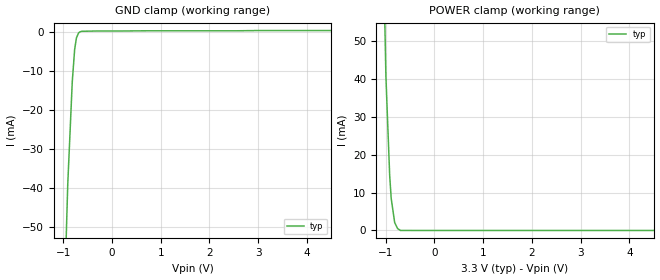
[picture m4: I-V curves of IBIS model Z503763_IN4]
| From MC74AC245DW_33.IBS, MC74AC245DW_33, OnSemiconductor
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| (C) COPYRIGHT 1993-2000
| MENTOR GRAPHICS CORPORATION
| ICX STANDARD LIBRARY, ICX PROJECT MODELING,
| ICX CUSTOM MODELING, ICX VENDOR MODEL
| ALL RIGHTS RESERVED.
| THE FOLLOWING ARE TRADEMARKS OR SERVICE MARKS OF
| MENTOR GRAPHICS CORPORATION:ICX (R), ICX STANDARD
| LIBRARY(R), ICX PROJECT MODELING(R), ICX CUSTOM
| MODELING(R), qualityIBIS(TM), MODELVIEWER(TM),
| AND MODELEDITOR(TM)
| ALL COPIES OF SOFTWARE, INCLUDING BUT NOT LIMITED TO
| ANY MODIFICATIONS, ENHANCEMENTS OR DERIVATIVE WORKS,
| MUST CONTAIN ALL MENTOR GRAPHICS CORPORATION'S
| NOTICES AND LEGENDS, INCLUDING THOSE EMBEDDED IN
| SOFTWARE AND THOSE AFFIXED TO SOFTWARE MEDIUM
| AND CONTAINER, AS RECEIVED FROM MENTOR GRAPHICS
| CORPORATION.
| Model Application Version 1.89 2/18/99.
[Model] Z503763_IN4
Model_type Input
Vinl = 990.0mV
Vinh = 2.310V
C_comp 4.000pF NA NA
| variable typ   min   max
[Voltage Range] 3.300V NA NA
[GND Clamp Reference] 0.000V NA NA
[POWER Clamp Reference] 3.300V NA NA
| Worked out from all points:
|   GND clamp passes 1 mA (typ) near -0.71 V on its own axis
|   POWER clamp passes 1 mA (typ) near -0.78 V on its own axis
[GND Clamp]
-3.3V     -1.985A    NA         NA
-1.045V   -98.38mA   NA         NA
-908.2mV  -39.24mA   NA         NA
-815.4mV  -12.85mA   NA         NA
-766.4mV  -4.566mA   NA         NA
-730.4mV  -1.614mA   NA         NA
-687.3mV  -368.6uA   NA         NA
-627.6mV  86.85uA    NA         NA
6.6V      280.6uA    NA         NA
[POWER Clamp]
-3.3V     2.186A     NA         NA
-1.114V   115.6mA    NA         NA
-997mV    40.62mA    NA         NA
-920mV    14.59mA    NA         NA
-889mV    8.497mA    NA         NA
-817mV    2.08mA     NA         NA
-756mV    476uA      NA         NA
-698mV    6.2uA      NA         NA
-349mV    0A         NA         NA
6.6V      0A         NA         NA
